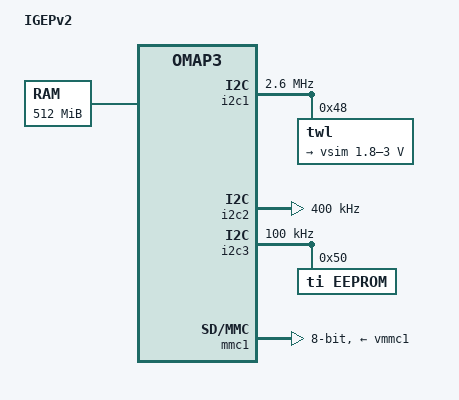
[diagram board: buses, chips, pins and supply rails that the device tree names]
/*
 * Copyright (C) 2012 - ISEE 2007 SL - http://www.isee.biz/
 *
 * This program is free software; you can redistribute it and/or modify
 * it under the terms of the GNU General Public License version 2 as
 * published by the Free Software Foundation.
 */
/dts-v1/;

/include/ "omap3.dtsi"

/ {
	model = "IGEPv2";
	compatible = "isee,omap3-igep0020", "ti,omap3";

	memory {
		device_type = "memory";
		reg = <0x80000000 0x20000000>; /* 512 MB */
	};
};

&i2c1 {
	clock-frequency = <2600000>;

	twl: twl@48 {
		reg = <0x48>;
		interrupts = <7>; /* SYS_NIRQ cascaded to intc */
		interrupt-parent = <&intc>;

		vsim: regulator@10 {
			compatible = "ti,twl4030-vsim";
			regulator-min-microvolt = <1800000>;
			regulator-max-microvolt = <3000000>;
		};
	};
};

/include/ "twl4030.dtsi"

&i2c2 {
	clock-frequency = <400000>;
};

&i2c3 {
	clock-frequency = <100000>;

	/*
	 * Display monitor features are burnt in the EEPROM
	 * as EDID data.
	 */
	eeprom@50 {
		compatible = "ti,eeprom";
		reg = <0x50>;
	};
};

&mmc1 {
	vmmc-supply = <&vmmc1>;
	vmmc_aux-supply = <&vsim>;
	bus-width = <8>;
};

&mmc2 {
	status = "disabled";
};

&mmc3 {
	status = "disabled";
};
